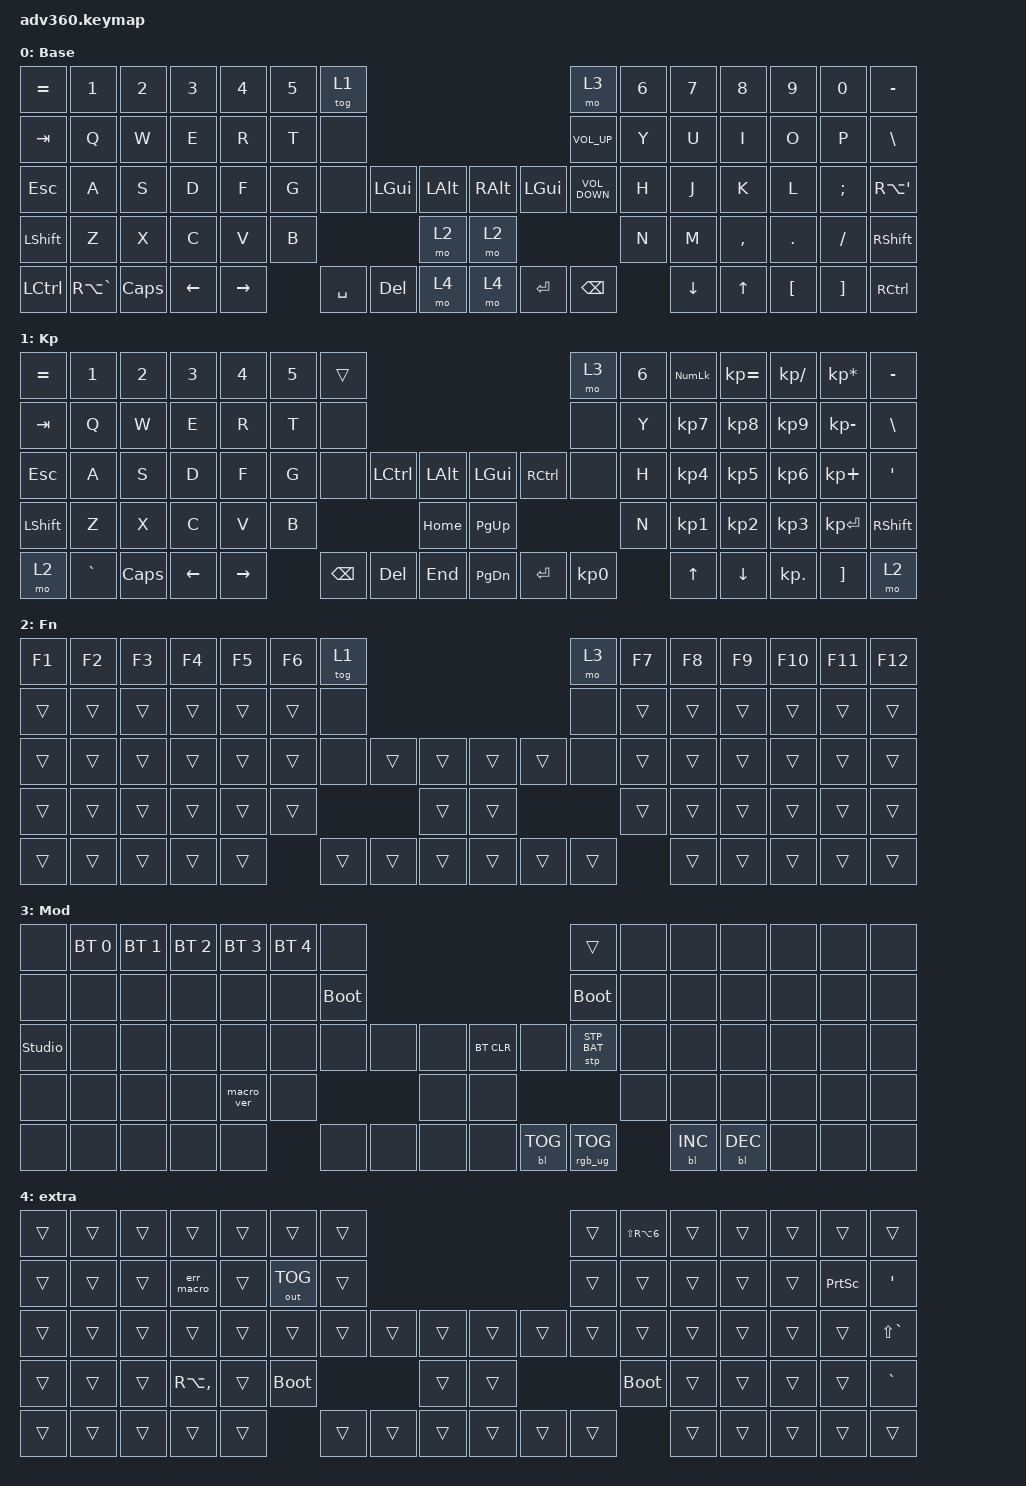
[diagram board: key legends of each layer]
#include <dt-bindings/zmk/stp.h>
#include <behaviors.dtsi>
#include <dt-bindings/zmk/backlight.h>
#include <dt-bindings/zmk/bt.h>
#include <dt-bindings/zmk/keys.h>
#include <dt-bindings/zmk/outputs.h>
#include <dt-bindings/zmk/rgb.h>

/ {
    behaviors {
        #include "macros.dtsi"
      #include "version.dtsi"

        hm: homerow_mods {
            compatible = "zmk,behavior-hold-tap";
            label = "HOMEROW_MODS";
            #binding-cells = <2>;
            tapping-term-ms = <150>;
            quick_tap_ms = <175>;
            flavor = "tap-preferred";
            bindings = <&kp>, <&kp>;
        };
    };

    macros {
        err_macro: err_macro {
            compatible = "zmk,behavior-macro";
            #binding-cells = <0>;
            bindings = <&kp I &kp F &kp SPACE &kp E &kp R &kp R &kp SPACE &kp EXCL &kp EQUAL &kp SPACE &kp N &kp I &kp L &kp SPACE &kp LBRC &kp RET &kp RBRC &kp ESC &kp LS(O)>;
            label = "ERR_MACRO";
        };
    };

    keymap {
        compatible = "zmk,keymap";

        default_layer {
            display-name = "Base";
            bindings = <
&kp EQUAL  &kp N1         &kp N2    &kp N3    &kp N4     &kp N5  &tog 1                                                  &mo 3              &kp N6  &kp N7    &kp N8     &kp N9    &kp N0    &kp MINUS
&kp TAB    &kp Q          &kp W     &kp E     &kp R      &kp T   &none                                                   &kp C_VOLUME_UP    &kp Y   &kp U     &kp I      &kp O     &kp P     &kp BSLH
&kp ESC    &kp A          &kp S     &kp D     &kp F      &kp G   &none      &kp LGUI  &kp LALT      &kp RALT  &kp LGUI   &kp C_VOLUME_DOWN  &kp H   &kp J     &kp K      &kp L     &kp SEMI  &kp RA(SQT)
&kp LSHFT  &kp Z          &kp X     &kp C     &kp V      &kp B                        &mo 2         &mo 2                                   &kp N   &kp M     &kp COMMA  &kp DOT   &kp FSLH  &kp RSHFT
&kp LCTRL  &kp RA(GRAVE)  &kp CAPS  &kp LEFT  &kp RIGHT          &kp SPACE  &kp DEL   &mo 4         &mo 4     &kp ENTER  &kp BACKSPACE              &kp DOWN  &kp UP     &kp LBKT  &kp RBKT  &kp RCTRL
            >;
        };

        keypad {
            display-name = "Kp";
            bindings = <
&kp EQUAL  &kp N1     &kp N2    &kp N3    &kp N4     &kp N5  &trans                                                   &mo 3      &kp N6  &kp KP_NUM  &kp KP_EQUAL  &kp KP_DIVIDE  &kp KP_MULTIPLY  &kp MINUS
&kp TAB    &kp Q      &kp W     &kp E     &kp R      &kp T   &none                                                    &none      &kp Y   &kp KP_N7   &kp KP_N8     &kp KP_N9      &kp KP_MINUS     &kp BSLH
&kp ESC    &kp A      &kp S     &kp D     &kp F      &kp G   &none     &kp LCTRL  &kp LALT      &kp LGUI   &kp RCTRL  &none      &kp H   &kp KP_N4   &kp KP_N5     &kp KP_N6      &kp KP_PLUS      &kp SQT
&kp LSHFT  &kp Z      &kp X     &kp C     &kp V      &kp B                        &kp HOME      &kp PG_UP                        &kp N   &kp KP_N1   &kp KP_N2     &kp KP_N3      &kp KP_ENTER     &kp RSHFT
&mo 2      &kp GRAVE  &kp CAPS  &kp LEFT  &kp RIGHT          &kp BSPC  &kp DEL    &kp END       &kp PG_DN  &kp ENTER  &kp KP_N0          &kp UP      &kp DOWN      &kp KP_DOT     &kp RBKT         &mo 2
            >;
        };

        fn {
            display-name = "Fn";
            bindings = <
&kp F1  &kp F2  &kp F3  &kp F4  &kp F5  &kp F6  &tog 1                                      &mo 3   &kp F7  &kp F8  &kp F9  &kp F10  &kp F11  &kp F12
&trans  &trans  &trans  &trans  &trans  &trans  &none                                       &none   &trans  &trans  &trans  &trans   &trans   &trans
&trans  &trans  &trans  &trans  &trans  &trans  &none   &trans  &trans      &trans  &trans  &none   &trans  &trans  &trans  &trans   &trans   &trans
&trans  &trans  &trans  &trans  &trans  &trans                  &trans      &trans                  &trans  &trans  &trans  &trans   &trans   &trans
&trans  &trans  &trans  &trans  &trans          &trans  &trans  &trans      &trans  &trans  &trans          &trans  &trans  &trans   &trans   &trans
            >;
        };

        mod {
            display-name = "Mod";
            bindings = <
&none           &bt BT_SEL 0  &bt BT_SEL 1  &bt BT_SEL 2  &bt BT_SEL 3  &bt BT_SEL 4  &none                                                  &trans           &none  &none       &none       &none  &none  &none
&none           &none         &none         &none         &none         &none         &bootloader                                            &bootloader      &none  &none       &none       &none  &none  &none
&studio_unlock  &none         &none         &none         &none         &none         &none        &none  &none      &bt BT_CLR  &none       &stp STP_BAT     &none  &none       &none       &none  &none  &none
&none           &none         &none         &none         &macro_ver    &none                             &none      &none                                    &none  &none       &none       &none  &none  &none
&none           &none         &none         &none         &none                       &none        &none  &none      &none       &bl BL_TOG  &rgb_ug RGB_TOG         &bl BL_INC  &bl BL_DEC  &none  &none  &none
            >;
        };

        extra {
            bindings = <
&trans  &trans  &trans  &trans         &trans  &trans        &trans                                      &trans  &kp LS(RA(NUMBER_6))  &trans  &trans  &trans  &trans           &trans
&trans  &trans  &trans  &err_macro     &trans  &out OUT_TOG  &trans                                      &trans  &trans                &trans  &trans  &trans  &kp PRINTSCREEN  &kp SQT
&trans  &trans  &trans  &trans         &trans  &trans        &trans  &trans  &trans      &trans  &trans  &trans  &trans                &trans  &trans  &trans  &trans           &kp LS(GRAVE)
&trans  &trans  &trans  &kp RA(COMMA)  &trans  &bootloader                   &trans      &trans                  &bootloader           &trans  &trans  &trans  &trans           &kp GRAVE
&trans  &trans  &trans  &trans         &trans                &trans  &trans  &trans      &trans  &trans  &trans                        &trans  &trans  &trans  &trans           &trans
            >;
        };
    };
};
